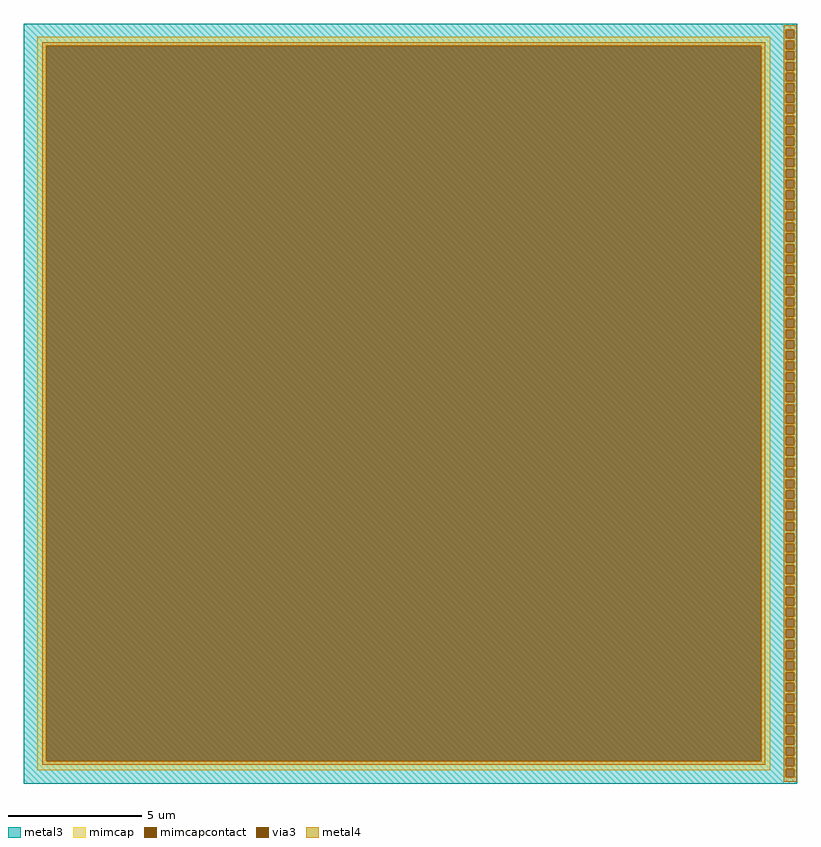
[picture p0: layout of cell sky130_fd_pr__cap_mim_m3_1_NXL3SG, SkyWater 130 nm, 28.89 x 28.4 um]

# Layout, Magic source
magic
tech sky130A
magscale 1 2
<< metal3 >>
rect -2890 2792 2889 2840
rect -2890 2728 2805 2792
rect 2869 2728 2889 2792
rect -2890 2712 2889 2728
rect -2890 2648 2805 2712
rect 2869 2648 2889 2712
rect -2890 2632 2889 2648
rect -2890 2568 2805 2632
rect 2869 2568 2889 2632
rect -2890 2552 2889 2568
rect -2890 2488 2805 2552
rect 2869 2488 2889 2552
rect -2890 2472 2889 2488
rect -2890 2408 2805 2472
rect 2869 2408 2889 2472
rect -2890 2392 2889 2408
rect -2890 2328 2805 2392
rect 2869 2328 2889 2392
rect -2890 2312 2889 2328
rect -2890 2248 2805 2312
rect 2869 2248 2889 2312
rect -2890 2232 2889 2248
rect -2890 2168 2805 2232
rect 2869 2168 2889 2232
rect -2890 2152 2889 2168
rect -2890 2088 2805 2152
rect 2869 2088 2889 2152
rect -2890 2072 2889 2088
rect -2890 2008 2805 2072
rect 2869 2008 2889 2072
rect -2890 1992 2889 2008
rect -2890 1928 2805 1992
rect 2869 1928 2889 1992
rect -2890 1912 2889 1928
rect -2890 1848 2805 1912
rect 2869 1848 2889 1912
rect -2890 1832 2889 1848
rect -2890 1768 2805 1832
rect 2869 1768 2889 1832
rect -2890 1752 2889 1768
rect -2890 1688 2805 1752
rect 2869 1688 2889 1752
rect -2890 1672 2889 1688
rect -2890 1608 2805 1672
rect 2869 1608 2889 1672
rect -2890 1592 2889 1608
rect -2890 1528 2805 1592
rect 2869 1528 2889 1592
rect -2890 1512 2889 1528
rect -2890 1448 2805 1512
rect 2869 1448 2889 1512
rect -2890 1432 2889 1448
rect -2890 1368 2805 1432
rect 2869 1368 2889 1432
rect -2890 1352 2889 1368
rect -2890 1288 2805 1352
rect 2869 1288 2889 1352
rect -2890 1272 2889 1288
rect -2890 1208 2805 1272
rect 2869 1208 2889 1272
rect -2890 1192 2889 1208
rect -2890 1128 2805 1192
rect 2869 1128 2889 1192
rect -2890 1112 2889 1128
rect -2890 1048 2805 1112
rect 2869 1048 2889 1112
rect -2890 1032 2889 1048
rect -2890 968 2805 1032
rect 2869 968 2889 1032
rect -2890 952 2889 968
rect -2890 888 2805 952
rect 2869 888 2889 952
rect -2890 872 2889 888
rect -2890 808 2805 872
rect 2869 808 2889 872
rect -2890 792 2889 808
rect -2890 728 2805 792
rect 2869 728 2889 792
rect -2890 712 2889 728
rect -2890 648 2805 712
rect 2869 648 2889 712
rect -2890 632 2889 648
rect -2890 568 2805 632
rect 2869 568 2889 632
rect -2890 552 2889 568
rect -2890 488 2805 552
rect 2869 488 2889 552
rect -2890 472 2889 488
rect -2890 408 2805 472
rect 2869 408 2889 472
rect -2890 392 2889 408
rect -2890 328 2805 392
rect 2869 328 2889 392
rect -2890 312 2889 328
rect -2890 248 2805 312
rect 2869 248 2889 312
rect -2890 232 2889 248
rect -2890 168 2805 232
rect 2869 168 2889 232
rect -2890 152 2889 168
rect -2890 88 2805 152
rect 2869 88 2889 152
rect -2890 72 2889 88
rect -2890 8 2805 72
rect 2869 8 2889 72
rect -2890 -8 2889 8
rect -2890 -72 2805 -8
rect 2869 -72 2889 -8
rect -2890 -88 2889 -72
rect -2890 -152 2805 -88
rect 2869 -152 2889 -88
rect -2890 -168 2889 -152
rect -2890 -232 2805 -168
rect 2869 -232 2889 -168
rect -2890 -248 2889 -232
rect -2890 -312 2805 -248
rect 2869 -312 2889 -248
rect -2890 -328 2889 -312
rect -2890 -392 2805 -328
rect 2869 -392 2889 -328
rect -2890 -408 2889 -392
rect -2890 -472 2805 -408
rect 2869 -472 2889 -408
rect -2890 -488 2889 -472
rect -2890 -552 2805 -488
rect 2869 -552 2889 -488
rect -2890 -568 2889 -552
rect -2890 -632 2805 -568
rect 2869 -632 2889 -568
rect -2890 -648 2889 -632
rect -2890 -712 2805 -648
rect 2869 -712 2889 -648
rect -2890 -728 2889 -712
rect -2890 -792 2805 -728
rect 2869 -792 2889 -728
rect -2890 -808 2889 -792
rect -2890 -872 2805 -808
rect 2869 -872 2889 -808
rect -2890 -888 2889 -872
rect -2890 -952 2805 -888
rect 2869 -952 2889 -888
rect -2890 -968 2889 -952
rect -2890 -1032 2805 -968
rect 2869 -1032 2889 -968
rect -2890 -1048 2889 -1032
rect -2890 -1112 2805 -1048
rect 2869 -1112 2889 -1048
rect -2890 -1128 2889 -1112
rect -2890 -1192 2805 -1128
rect 2869 -1192 2889 -1128
rect -2890 -1208 2889 -1192
rect -2890 -1272 2805 -1208
rect 2869 -1272 2889 -1208
rect -2890 -1288 2889 -1272
rect -2890 -1352 2805 -1288
rect 2869 -1352 2889 -1288
rect -2890 -1368 2889 -1352
rect -2890 -1432 2805 -1368
rect 2869 -1432 2889 -1368
rect -2890 -1448 2889 -1432
rect -2890 -1512 2805 -1448
rect 2869 -1512 2889 -1448
rect -2890 -1528 2889 -1512
rect -2890 -1592 2805 -1528
rect 2869 -1592 2889 -1528
rect -2890 -1608 2889 -1592
rect -2890 -1672 2805 -1608
rect 2869 -1672 2889 -1608
rect -2890 -1688 2889 -1672
rect -2890 -1752 2805 -1688
rect 2869 -1752 2889 -1688
rect -2890 -1768 2889 -1752
rect -2890 -1832 2805 -1768
rect 2869 -1832 2889 -1768
rect -2890 -1848 2889 -1832
rect -2890 -1912 2805 -1848
rect 2869 -1912 2889 -1848
rect -2890 -1928 2889 -1912
rect -2890 -1992 2805 -1928
rect 2869 -1992 2889 -1928
rect -2890 -2008 2889 -1992
rect -2890 -2072 2805 -2008
rect 2869 -2072 2889 -2008
rect -2890 -2088 2889 -2072
rect -2890 -2152 2805 -2088
rect 2869 -2152 2889 -2088
rect -2890 -2168 2889 -2152
rect -2890 -2232 2805 -2168
rect 2869 -2232 2889 -2168
rect -2890 -2248 2889 -2232
rect -2890 -2312 2805 -2248
rect 2869 -2312 2889 -2248
rect -2890 -2328 2889 -2312
rect -2890 -2392 2805 -2328
rect 2869 -2392 2889 -2328
rect -2890 -2408 2889 -2392
rect -2890 -2472 2805 -2408
rect 2869 -2472 2889 -2408
rect -2890 -2488 2889 -2472
rect -2890 -2552 2805 -2488
rect 2869 -2552 2889 -2488
rect -2890 -2568 2889 -2552
rect -2890 -2632 2805 -2568
rect 2869 -2632 2889 -2568
rect -2890 -2648 2889 -2632
rect -2890 -2712 2805 -2648
rect 2869 -2712 2889 -2648
rect -2890 -2728 2889 -2712
rect -2890 -2792 2805 -2728
rect 2869 -2792 2889 -2728
rect -2890 -2840 2889 -2792
<< via3 >>
rect 2805 2728 2869 2792
rect 2805 2648 2869 2712
rect 2805 2568 2869 2632
rect 2805 2488 2869 2552
rect 2805 2408 2869 2472
rect 2805 2328 2869 2392
rect 2805 2248 2869 2312
rect 2805 2168 2869 2232
rect 2805 2088 2869 2152
rect 2805 2008 2869 2072
rect 2805 1928 2869 1992
rect 2805 1848 2869 1912
rect 2805 1768 2869 1832
rect 2805 1688 2869 1752
rect 2805 1608 2869 1672
rect 2805 1528 2869 1592
rect 2805 1448 2869 1512
rect 2805 1368 2869 1432
rect 2805 1288 2869 1352
rect 2805 1208 2869 1272
rect 2805 1128 2869 1192
rect 2805 1048 2869 1112
rect 2805 968 2869 1032
rect 2805 888 2869 952
rect 2805 808 2869 872
rect 2805 728 2869 792
rect 2805 648 2869 712
rect 2805 568 2869 632
rect 2805 488 2869 552
rect 2805 408 2869 472
rect 2805 328 2869 392
rect 2805 248 2869 312
rect 2805 168 2869 232
rect 2805 88 2869 152
rect 2805 8 2869 72
rect 2805 -72 2869 -8
rect 2805 -152 2869 -88
rect 2805 -232 2869 -168
rect 2805 -312 2869 -248
rect 2805 -392 2869 -328
rect 2805 -472 2869 -408
rect 2805 -552 2869 -488
rect 2805 -632 2869 -568
rect 2805 -712 2869 -648
rect 2805 -792 2869 -728
rect 2805 -872 2869 -808
rect 2805 -952 2869 -888
rect 2805 -1032 2869 -968
rect 2805 -1112 2869 -1048
rect 2805 -1192 2869 -1128
rect 2805 -1272 2869 -1208
rect 2805 -1352 2869 -1288
rect 2805 -1432 2869 -1368
rect 2805 -1512 2869 -1448
rect 2805 -1592 2869 -1528
rect 2805 -1672 2869 -1608
rect 2805 -1752 2869 -1688
rect 2805 -1832 2869 -1768
rect 2805 -1912 2869 -1848
rect 2805 -1992 2869 -1928
rect 2805 -2072 2869 -2008
rect 2805 -2152 2869 -2088
rect 2805 -2232 2869 -2168
rect 2805 -2312 2869 -2248
rect 2805 -2392 2869 -2328
rect 2805 -2472 2869 -2408
rect 2805 -2552 2869 -2488
rect 2805 -2632 2869 -2568
rect 2805 -2712 2869 -2648
rect 2805 -2792 2869 -2728
<< mimcap >>
rect -2790 2672 2690 2740
rect -2790 -2672 -2722 2672
rect 2622 -2672 2690 2672
rect -2790 -2740 2690 -2672
<< mimcapcontact >>
rect -2722 -2672 2622 2672
<< metal4 >>
rect 2789 2792 2885 2828
rect 2789 2728 2805 2792
rect 2869 2728 2885 2792
rect 2789 2712 2885 2728
rect -2751 2672 2651 2701
rect -2751 -2672 -2722 2672
rect 2622 -2672 2651 2672
rect -2751 -2701 2651 -2672
rect 2789 2648 2805 2712
rect 2869 2648 2885 2712
rect 2789 2632 2885 2648
rect 2789 2568 2805 2632
rect 2869 2568 2885 2632
rect 2789 2552 2885 2568
rect 2789 2488 2805 2552
rect 2869 2488 2885 2552
rect 2789 2472 2885 2488
rect 2789 2408 2805 2472
rect 2869 2408 2885 2472
rect 2789 2392 2885 2408
rect 2789 2328 2805 2392
rect 2869 2328 2885 2392
rect 2789 2312 2885 2328
rect 2789 2248 2805 2312
rect 2869 2248 2885 2312
rect 2789 2232 2885 2248
rect 2789 2168 2805 2232
rect 2869 2168 2885 2232
rect 2789 2152 2885 2168
rect 2789 2088 2805 2152
rect 2869 2088 2885 2152
rect 2789 2072 2885 2088
rect 2789 2008 2805 2072
rect 2869 2008 2885 2072
rect 2789 1992 2885 2008
rect 2789 1928 2805 1992
rect 2869 1928 2885 1992
rect 2789 1912 2885 1928
rect 2789 1848 2805 1912
rect 2869 1848 2885 1912
rect 2789 1832 2885 1848
rect 2789 1768 2805 1832
rect 2869 1768 2885 1832
rect 2789 1752 2885 1768
rect 2789 1688 2805 1752
rect 2869 1688 2885 1752
rect 2789 1672 2885 1688
rect 2789 1608 2805 1672
rect 2869 1608 2885 1672
rect 2789 1592 2885 1608
rect 2789 1528 2805 1592
rect 2869 1528 2885 1592
rect 2789 1512 2885 1528
rect 2789 1448 2805 1512
rect 2869 1448 2885 1512
rect 2789 1432 2885 1448
rect 2789 1368 2805 1432
rect 2869 1368 2885 1432
rect 2789 1352 2885 1368
rect 2789 1288 2805 1352
rect 2869 1288 2885 1352
rect 2789 1272 2885 1288
rect 2789 1208 2805 1272
rect 2869 1208 2885 1272
rect 2789 1192 2885 1208
rect 2789 1128 2805 1192
rect 2869 1128 2885 1192
rect 2789 1112 2885 1128
rect 2789 1048 2805 1112
rect 2869 1048 2885 1112
rect 2789 1032 2885 1048
rect 2789 968 2805 1032
rect 2869 968 2885 1032
rect 2789 952 2885 968
rect 2789 888 2805 952
rect 2869 888 2885 952
rect 2789 872 2885 888
rect 2789 808 2805 872
rect 2869 808 2885 872
rect 2789 792 2885 808
rect 2789 728 2805 792
rect 2869 728 2885 792
rect 2789 712 2885 728
rect 2789 648 2805 712
rect 2869 648 2885 712
rect 2789 632 2885 648
rect 2789 568 2805 632
rect 2869 568 2885 632
rect 2789 552 2885 568
rect 2789 488 2805 552
rect 2869 488 2885 552
rect 2789 472 2885 488
rect 2789 408 2805 472
rect 2869 408 2885 472
rect 2789 392 2885 408
rect 2789 328 2805 392
rect 2869 328 2885 392
rect 2789 312 2885 328
rect 2789 248 2805 312
rect 2869 248 2885 312
rect 2789 232 2885 248
rect 2789 168 2805 232
rect 2869 168 2885 232
rect 2789 152 2885 168
rect 2789 88 2805 152
rect 2869 88 2885 152
rect 2789 72 2885 88
rect 2789 8 2805 72
rect 2869 8 2885 72
rect 2789 -8 2885 8
rect 2789 -72 2805 -8
rect 2869 -72 2885 -8
rect 2789 -88 2885 -72
rect 2789 -152 2805 -88
rect 2869 -152 2885 -88
rect 2789 -168 2885 -152
rect 2789 -232 2805 -168
rect 2869 -232 2885 -168
rect 2789 -248 2885 -232
rect 2789 -312 2805 -248
rect 2869 -312 2885 -248
rect 2789 -328 2885 -312
rect 2789 -392 2805 -328
rect 2869 -392 2885 -328
rect 2789 -408 2885 -392
rect 2789 -472 2805 -408
rect 2869 -472 2885 -408
rect 2789 -488 2885 -472
rect 2789 -552 2805 -488
rect 2869 -552 2885 -488
rect 2789 -568 2885 -552
rect 2789 -632 2805 -568
rect 2869 -632 2885 -568
rect 2789 -648 2885 -632
rect 2789 -712 2805 -648
rect 2869 -712 2885 -648
rect 2789 -728 2885 -712
rect 2789 -792 2805 -728
rect 2869 -792 2885 -728
rect 2789 -808 2885 -792
rect 2789 -872 2805 -808
rect 2869 -872 2885 -808
rect 2789 -888 2885 -872
rect 2789 -952 2805 -888
rect 2869 -952 2885 -888
rect 2789 -968 2885 -952
rect 2789 -1032 2805 -968
rect 2869 -1032 2885 -968
rect 2789 -1048 2885 -1032
rect 2789 -1112 2805 -1048
rect 2869 -1112 2885 -1048
rect 2789 -1128 2885 -1112
rect 2789 -1192 2805 -1128
rect 2869 -1192 2885 -1128
rect 2789 -1208 2885 -1192
rect 2789 -1272 2805 -1208
rect 2869 -1272 2885 -1208
rect 2789 -1288 2885 -1272
rect 2789 -1352 2805 -1288
rect 2869 -1352 2885 -1288
rect 2789 -1368 2885 -1352
rect 2789 -1432 2805 -1368
rect 2869 -1432 2885 -1368
rect 2789 -1448 2885 -1432
rect 2789 -1512 2805 -1448
rect 2869 -1512 2885 -1448
rect 2789 -1528 2885 -1512
rect 2789 -1592 2805 -1528
rect 2869 -1592 2885 -1528
rect 2789 -1608 2885 -1592
rect 2789 -1672 2805 -1608
rect 2869 -1672 2885 -1608
rect 2789 -1688 2885 -1672
rect 2789 -1752 2805 -1688
rect 2869 -1752 2885 -1688
rect 2789 -1768 2885 -1752
rect 2789 -1832 2805 -1768
rect 2869 -1832 2885 -1768
rect 2789 -1848 2885 -1832
rect 2789 -1912 2805 -1848
rect 2869 -1912 2885 -1848
rect 2789 -1928 2885 -1912
rect 2789 -1992 2805 -1928
rect 2869 -1992 2885 -1928
rect 2789 -2008 2885 -1992
rect 2789 -2072 2805 -2008
rect 2869 -2072 2885 -2008
rect 2789 -2088 2885 -2072
rect 2789 -2152 2805 -2088
rect 2869 -2152 2885 -2088
rect 2789 -2168 2885 -2152
rect 2789 -2232 2805 -2168
rect 2869 -2232 2885 -2168
rect 2789 -2248 2885 -2232
rect 2789 -2312 2805 -2248
rect 2869 -2312 2885 -2248
rect 2789 -2328 2885 -2312
rect 2789 -2392 2805 -2328
rect 2869 -2392 2885 -2328
rect 2789 -2408 2885 -2392
rect 2789 -2472 2805 -2408
rect 2869 -2472 2885 -2408
rect 2789 -2488 2885 -2472
rect 2789 -2552 2805 -2488
rect 2869 -2552 2885 -2488
rect 2789 -2568 2885 -2552
rect 2789 -2632 2805 -2568
rect 2869 -2632 2885 -2568
rect 2789 -2648 2885 -2632
rect 2789 -2712 2805 -2648
rect 2869 -2712 2885 -2648
rect 2789 -2728 2885 -2712
rect 2789 -2792 2805 -2728
rect 2869 -2792 2885 -2728
rect 2789 -2828 2885 -2792
<< properties >>
string FIXED_BBOX -2890 -2840 2790 2840
<< end >>
